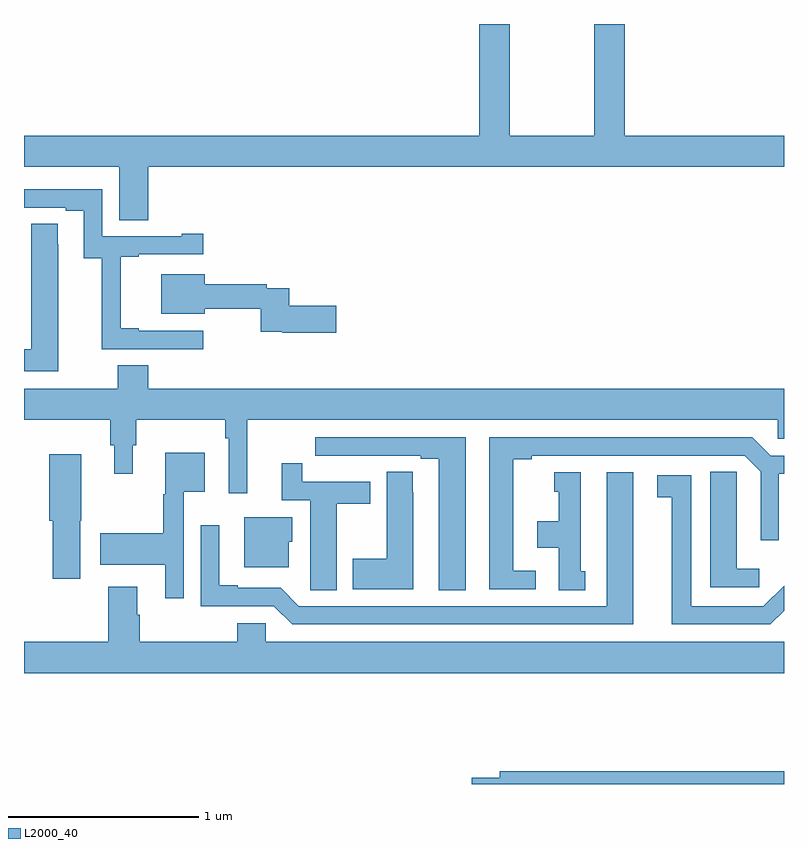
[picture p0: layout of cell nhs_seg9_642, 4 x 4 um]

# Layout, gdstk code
import gdstk
lib = gdstk.Library(unit=1e-6, precision=1e-09)
def P(c, l, *ps):  # polygons
    for p in ps: c.add(gdstk.Polygon(p, *l))
L2000_40 = (2000, 40)

nhs_seg9_642 = lib.new_cell('nhs_seg9_642')
P(nhs_seg9_642, L2000_40, [(143.654,1201.748),(147,1201.748),(147,1201.912),(146.162,1201.912),(146.162,1202.5),(146.002,1202.5),(146.002,1201.912),(145.557,1201.912),(145.557,1202.5),(145.397,1202.5),(145.397,1201.912),(143,1201.912),(143,1201.748),(143.501,1201.748),(143.501,1201.468),(143.654,1201.468)],
  [(143.944,1200.885),(143.605,1200.885),(143.605,1200.898),(143.51,1200.898),(143.51,1201.275),(143.605,1201.275),(143.605,1201.287),(143.944,1201.287),(143.944,1201.396),(143.831,1201.396),(143.831,1201.383),(143.412,1201.383),(143.412,1201.629),(143,1201.629),(143,1201.533),(143.219,1201.533),(143.219,1201.518),(143.315,1201.518),(143.315,1201.267),(143.41,1201.267),(143.41,1200.789),(143.944,1200.789)],
  [(143.179,1201.34),(143.178,1201.34),(143.178,1201.448),(143.039,1201.448),(143.039,1200.788),(143,1200.788),(143,1200.672),(143.179,1200.672)],
  [(144.643,1201.016),(144.395,1201.016),(144.395,1201.11),(144.278,1201.11),(144.278,1201.13),(143.95,1201.13),(143.95,1201.183),(143.723,1201.183),(143.723,1200.974),(143.95,1200.974),(143.95,1201.002),(144.247,1201.002),(144.247,1200.881),(144.358,1200.881),(144.358,1200.874),(144.643,1200.874)],
  [(144.176,1200.416),(146.967,1200.416),(146.967,1200.318),(147,1200.318),(147,1200.58),(143.654,1200.58),(143.654,1200.704),(143.494,1200.704),(143.494,1200.58),(143,1200.58),(143,1200.416),(143.455,1200.416),(143.455,1200.282),(143.474,1200.282),(143.474,1200.132),(143.572,1200.132),(143.572,1200.282),(143.591,1200.282),(143.591,1200.416),(144.058,1200.416),(144.058,1200.32),(144.078,1200.32),(144.078,1200.03),(144.176,1200.03)],
  [(145.693,1199.622),(145.576,1199.622),(145.576,1200.208),(145.672,1200.208),(145.672,1200.228),(146.793,1200.228),(146.877,1200.144),(146.877,1199.784),(146.973,1199.784),(146.973,1200.132),(147,1200.132),(147,1200.228),(146.929,1200.228),(146.833,1200.324),(145.448,1200.324),(145.448,1199.526),(145.693,1199.526)],
  [(145.324,1200.324),(144.534,1200.324),(144.534,1200.228),(144.646,1200.228),(144.646,1200.227),(144.812,1200.227),(144.812,1200.228),(145.088,1200.228),(145.088,1200.213),(145.184,1200.213),(145.184,1199.521),(145.324,1199.521)],
  [(143.841,1200.038),(143.95,1200.038),(143.95,1200.244),(143.744,1200.244),(143.744,1200.024),(143.733,1200.024),(143.733,1199.82),(143.4,1199.82),(143.4,1199.654),(143.744,1199.654),(143.744,1199.478),(143.841,1199.478)],
  [(143.296,1199.886),(143.302,1199.886),(143.302,1200.235),(143.132,1200.235),(143.132,1199.886),(143.15,1199.886),(143.15,1199.58),(143.296,1199.58)],
  [(144.646,1199.974),(144.823,1199.974),(144.823,1200.09),(144.464,1200.09),(144.464,1200.187),(144.356,1200.187),(144.356,1199.994),(144.506,1199.994),(144.506,1199.632),(144.507,1199.632),(144.507,1199.521),(144.646,1199.521)],
  [(145.048,1200.035),(145.047,1200.035),(145.047,1200.143),(144.908,1200.143),(144.908,1199.685),(144.731,1199.685),(144.731,1199.525),(145.048,1199.525)],
  [(146.869,1199.632),(146.752,1199.632),(146.752,1200.035),(146.751,1200.035),(146.751,1200.143),(146.612,1200.143),(146.612,1199.535),(146.869,1199.535)],
  [(145.954,1199.619),(145.93,1199.619),(145.93,1200.142),(145.79,1200.142),(145.79,1200.039),(145.814,1200.039),(145.814,1199.884),(145.7,1199.884),(145.7,1199.744),(145.814,1199.744),(145.814,1199.521),(145.954,1199.521)],
  [(146.206,1200.142),(146.066,1200.142),(146.066,1199.436),(144.447,1199.436),(144.351,1199.532),(144.124,1199.532),(144.124,1199.545),(144.028,1199.545),(144.028,1199.863),(143.931,1199.863),(143.931,1199.436),(144.315,1199.436),(144.411,1199.34),(146.206,1199.34)],
  [(147,1199.412),(147,1199.544),(146.892,1199.436),(146.512,1199.436),(146.512,1200.126),(146.334,1200.126),(146.334,1200.01),(146.408,1200.01),(146.408,1199.34),(146.928,1199.34)],
  [(144.394,1199.775),(144.412,1199.775),(144.412,1199.905),(144.158,1199.905),(144.158,1199.642),(144.394,1199.642)],
  [(147,1199.248),(144.273,1199.248),(144.273,1199.346),(144.122,1199.346),(144.122,1199.248),(143.609,1199.248),(143.609,1199.39),(143.596,1199.39),(143.596,1199.539),(143.444,1199.539),(143.444,1199.248),(143,1199.248),(143,1199.084),(147,1199.084)],
  [(147,1198.568),(145.505,1198.568),(145.505,1198.532),(145.356,1198.532),(145.356,1198.5),(147,1198.5)])

lib.write_gds('nhs_seg9_642.gds')
